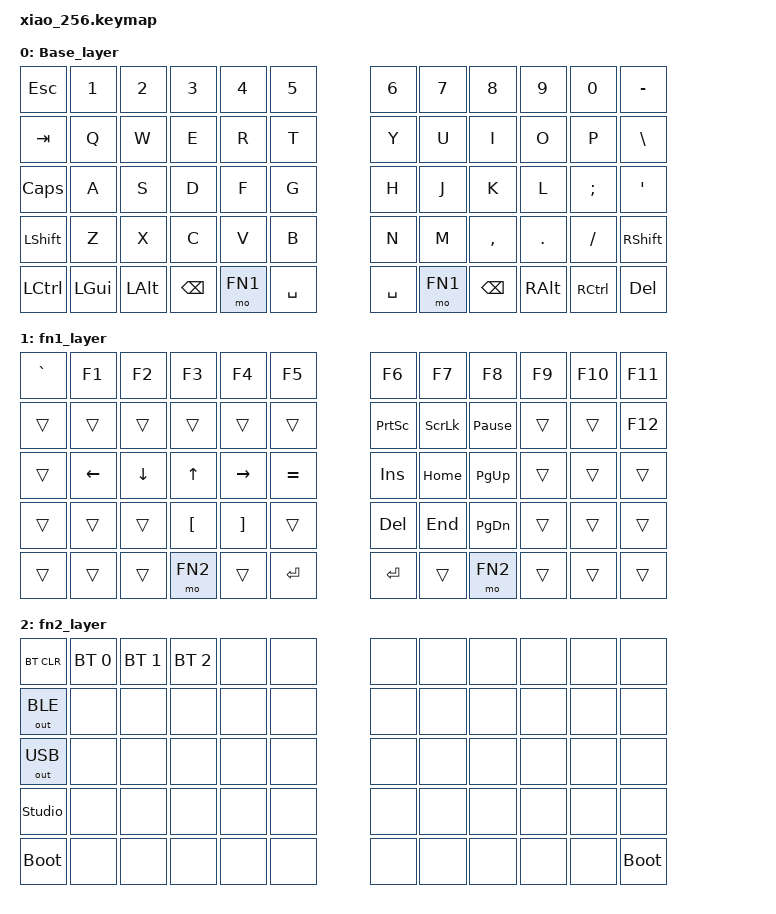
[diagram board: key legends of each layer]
#include <behaviors.dtsi>
#include <dt-bindings/zmk/keys.h>
#include <dt-bindings/zmk/bt.h>
#include <dt-bindings/zmk/outputs.h>
#include <dt-bindings/zmk/reset.h>

#define BASE 0
#define FN1 1
#define FN2 2

/ {
  keymap {
    compatible = "zmk,keymap";

    Base_layer {
      bindings = <
        &kp ESC     &kp N1      &kp N2      &kp N3      &kp N4      &kp N5      &kp N6      &kp N7      &kp N8      &kp N9      &kp N0      &kp MINUS
        &kp TAB     &kp Q       &kp W       &kp E       &kp R       &kp T       &kp Y       &kp U       &kp I       &kp O       &kp P       &kp BSLH
        &kp CAPS    &kp A       &kp S       &kp D       &kp F       &kp G       &kp H       &kp J       &kp K       &kp L       &kp SEMI    &kp SQT
        &kp LSHFT   &kp Z       &kp X       &kp C       &kp V       &kp B       &kp N       &kp M       &kp COMMA   &kp DOT     &kp SLASH   &kp RSHFT
        &kp LCTRL   &kp LGUI    &kp LALT    &kp BSPC    &mo FN1     &kp SPACE   &kp SPACE   &mo FN1     &kp BSPC    &kp RALT    &kp RCTRL   &kp DEL 
      >;
    };

    fn1_layer {
      bindings = <
        &kp GRAVE   &kp F1      &kp F2      &kp F3      &kp F4      &kp F5      &kp F6      &kp F7      &kp F8      &kp F9      &kp F10     &kp F11
        &trans      &trans      &trans      &trans      &trans      &trans      &kp PSCRN   &kp SLCK    &kp PAUSE_BREAK &trans  &trans      &kp F12
        &trans      &kp LEFT    &kp DOWN    &kp UP      &kp RIGHT   &kp EQUAL   &kp INSERT  &kp HOME    &kp PG_UP   &trans      &trans      &trans
        &trans      &trans      &trans      &kp LBKT    &kp RBKT    &trans      &kp DEL     &kp END     &kp PG_DN   &trans      &trans      &trans
        &trans      &trans      &trans      &mo FN2     &trans      &kp RETURN  &kp RETURN  &trans      &mo FN2     &trans      &trans      &trans 
      >;
    };

    fn2_layer {
      bindings = <
        &bt BT_CLR  &bt BT_SEL 0 &bt BT_SEL 1 &bt BT_SEL 2 &none    &none       &none       &none       &none       &none       &none       &none
        &out OUT_BLE &none      &none       &none       &none       &none       &none       &none       &none       &none       &none       &none
        &out OUT_USB &none      &none       &none       &none       &none       &none       &none       &none       &none       &none       &none
        &studio_unlock &none       &none       &none       &none       &none       &none       &none       &none       &none       &none       &none
        &bootloader &none       &none       &none       &none       &none       &none       &none       &none       &none       &none       &bootloader 
      >;
    };

  };
};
